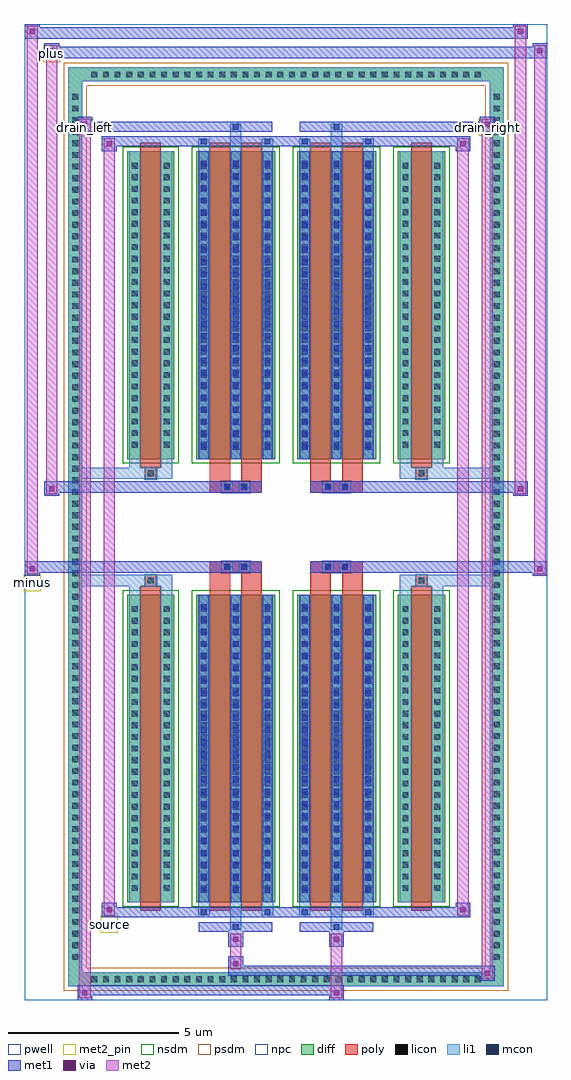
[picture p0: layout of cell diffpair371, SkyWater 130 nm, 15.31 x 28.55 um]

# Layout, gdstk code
import gdstk
lib = gdstk.Library(unit=1e-6, precision=5e-09)
def R(c, l, rs):  # rectangles x0, y0, x1, y1
    for r in rs: c.add(gdstk.rectangle(r[:2], r[2:], *l))
def A(c, l, x, y, w, h, nx, ny, dx, dy):  # array of equal rectangles
    R(c, l, [(x+i*dx, y+j*dy, x+i*dx+w, y+j*dy+h) for i in range(nx) for j in range(ny)])
def P(c, l, *ps):  # polygons
    for p in ps: c.add(gdstk.Polygon(p, *l))
pwell = (64, 44)
diff = (65, 20)
poly = (66, 20)
licon = (66, 44)
li1 = (67, 20)
mcon = (67, 44)
met1 = (68, 20)
via = (68, 44)
met2_pin = (69, 16)
met2 = (69, 20)
nsdm = (93, 44)
psdm = (94, 20)
npc = (95, 20)

diffpair371 = lib.new_cell('diffpair371')
R(diffpair371, pwell, [(-7.64,-13.84,7.64,14.71), (-4.96,-12.03,-0.01,-0.805), (0.01,-12.03,4.96,-0.805), (-4.96,0.805,-0.01,12.03), (0.01,0.805,4.96,12.03)])
A(diffpair371, diff, -5.815, -13.44, 0.41, 0.41, 34, 2, 0.34, 26.47)
A(diffpair371, diff, -6.37, -12.785, 0.41, 0.41, 1, 75, 0, 0.34)
A(diffpair371, diff, 5.96, -12.785, 0.41, 0.41, 1, 75, 0, 0.34)
R(diffpair371, diff, [(-5.815,-13.44,5.815,-13.03), (-6.37,-12.785,-5.96,12.785), (5.96,-12.785,6.37,12.785), (-4.65,-10.985,-3.27,-1.985), (-2.63,-10.985,-0.32,-1.985), (0.32,-10.985,2.63,-1.985), (3.27,-10.985,4.65,-1.985), (-4.65,1.985,-3.27,10.985), (-2.63,1.985,-0.32,10.985), (0.32,1.985,2.63,10.985), (3.27,1.985,4.65,10.985), (-5.815,13.03,5.815,13.44)])
P(diffpair371, diff, [(6.37,13.44),(-6.37,13.44),(-6.37,-13.03),(-5.96,-13.03),(-5.96,13.03),(5.96,13.03),(5.96,-13.03),(-5.96,-13.03),(-6.37,-13.03),(-6.37,-13.44),(6.37,-13.44)])
R(diffpair371, poly, [(-4.26,-11.235,-3.66,-1.735), (-2.24,-11.235,-1.64,-1.735), (-1.31,-11.235,-0.71,-1.735), (0.71,-11.235,1.31,-1.735), (1.64,-11.235,2.24,-1.735), (3.66,-11.235,4.26,-1.735), (-4.125,-1.735,-3.795,-1.405), (-4.125,-1.735,-3.795,-1.405), (-2.24,-1.735,-1.64,-1.335), (-1.31,-1.735,-0.71,-1.335), (0.71,-1.735,1.31,-1.335), (1.64,-1.735,2.24,-1.335), (3.795,-1.735,4.125,-1.405), (3.795,-1.735,4.125,-1.405), (-2.24,-1.335,-0.71,-1.005), (-1.89,-1.335,-1.56,-1.005), (-1.39,-1.335,-1.06,-1.005), (0.71,-1.335,2.24,-1.005), (1.06,-1.335,1.39,-1.005), (1.56,-1.335,1.89,-1.005), (-2.24,1.005,-0.71,1.335), (-1.89,1.005,-1.56,1.335), (-1.39,1.005,-1.06,1.335), (0.71,1.005,2.24,1.335), (1.06,1.005,1.39,1.335), (1.56,1.005,1.89,1.335), (-2.24,1.335,-1.64,1.735), (-1.31,1.335,-0.71,1.735), (0.71,1.335,1.31,1.735), (1.64,1.335,2.24,1.735), (-4.125,1.405,-3.795,1.735), (-4.125,1.405,-3.795,1.735), (3.795,1.405,4.125,1.735), (3.795,1.405,4.125,1.735), (-4.26,1.735,-3.66,11.235), (-2.24,1.735,-1.64,11.235), (-1.31,1.735,-0.71,11.235), (0.71,1.735,1.31,11.235), (1.64,1.735,2.24,11.235), (3.66,1.735,4.26,11.235)])
A(diffpair371, licon, -5.695, -13.32, 0.17, 0.17, 34, 2, 0.34, 26.47)
A(diffpair371, licon, -6.25, -12.665, 0.17, 0.17, 1, 75, 0, 0.34)
A(diffpair371, licon, 6.08, -12.665, 0.17, 0.17, 1, 75, 0, 0.34)
A(diffpair371, licon, -4.51, -10.65, 0.17, 0.17, 1, 25, 0, 0.34)
A(diffpair371, licon, -3.58, -10.65, 0.17, 0.17, 1, 25, 0, 0.34)
A(diffpair371, licon, -2.49, -10.65, 0.17, 0.17, 3, 25, 0.93, 0.34)
A(diffpair371, licon, 0.46, -10.65, 0.17, 0.17, 3, 25, 0.93, 0.34)
A(diffpair371, licon, 3.41, -10.65, 0.17, 0.17, 1, 25, 0, 0.34)
A(diffpair371, licon, 4.34, -10.65, 0.17, 0.17, 1, 25, 0, 0.34)
A(diffpair371, licon, -4.51, 2.32, 0.17, 0.17, 1, 25, 0, 0.34)
A(diffpair371, licon, -3.58, 2.32, 0.17, 0.17, 1, 25, 0, 0.34)
A(diffpair371, licon, -2.49, 2.32, 0.17, 0.17, 3, 25, 0.93, 0.34)
A(diffpair371, licon, 0.46, 2.32, 0.17, 0.17, 3, 25, 0.93, 0.34)
A(diffpair371, licon, 3.41, 2.32, 0.17, 0.17, 1, 25, 0, 0.34)
A(diffpair371, licon, 4.34, 2.32, 0.17, 0.17, 1, 25, 0, 0.34)
R(diffpair371, licon, [(-4.045,-1.655,-3.875,-1.485), (3.875,-1.655,4.045,-1.485), (-1.81,-1.255,-1.64,-1.085), (-1.31,-1.255,-1.14,-1.085), (1.14,-1.255,1.31,-1.085), (1.64,-1.255,1.81,-1.085), (-1.81,1.085,-1.64,1.255), (-1.31,1.085,-1.14,1.255), (1.14,1.085,1.31,1.255), (1.64,1.085,1.81,1.255), (-4.045,1.485,-3.875,1.655), (3.875,1.485,4.045,1.655)])
A(diffpair371, li1, -5.775, -13.4, 0.33, 0.33, 34, 2, 0.34, 26.47)
A(diffpair371, li1, -6.33, -12.745, 0.33, 0.33, 1, 75, 0, 0.34)
A(diffpair371, li1, 6, -12.745, 0.33, 0.33, 1, 75, 0, 0.34)
A(diffpair371, li1, -2.57, -10.985, 0.33, 9, 3, 2, 0.93, 12.97)
A(diffpair371, li1, 0.38, -10.985, 0.33, 9, 3, 2, 0.93, 12.97)
A(diffpair371, li1, -4.59, -10.73, 0.33, 0.33, 1, 25, 0, 0.34)
A(diffpair371, li1, -3.66, -10.73, 0.33, 0.33, 1, 25, 0, 0.34)
A(diffpair371, li1, -2.57, -10.73, 0.33, 0.33, 3, 25, 0.93, 0.34)
A(diffpair371, li1, 0.38, -10.73, 0.33, 0.33, 3, 25, 0.93, 0.34)
A(diffpair371, li1, 3.33, -10.73, 0.33, 0.33, 1, 25, 0, 0.34)
A(diffpair371, li1, 4.26, -10.73, 0.33, 0.33, 1, 25, 0, 0.34)
A(diffpair371, li1, -2.49, -10.71, 0.17, 0.17, 3, 24, 0.93, 0.36)
A(diffpair371, li1, -2.49, -10.71, 0.17, 8.45, 3, 2, 0.93, 12.97)
A(diffpair371, li1, 0.46, -10.71, 0.17, 0.17, 3, 24, 0.93, 0.36)
A(diffpair371, li1, 0.46, -10.71, 0.17, 8.45, 3, 2, 0.93, 12.97)
A(diffpair371, li1, -4.59, 2.24, 0.33, 0.33, 1, 25, 0, 0.34)
A(diffpair371, li1, -3.66, 2.24, 0.33, 0.33, 1, 25, 0, 0.34)
A(diffpair371, li1, -2.57, 2.24, 0.33, 0.33, 3, 25, 0.93, 0.34)
A(diffpair371, li1, 0.38, 2.24, 0.33, 0.33, 3, 25, 0.93, 0.34)
A(diffpair371, li1, 3.33, 2.24, 0.33, 0.33, 1, 25, 0, 0.34)
A(diffpair371, li1, 4.26, 2.24, 0.33, 0.33, 1, 25, 0, 0.34)
A(diffpair371, li1, -2.49, 2.26, 0.17, 0.17, 3, 24, 0.93, 0.36)
A(diffpair371, li1, 0.46, 2.26, 0.17, 0.17, 3, 24, 0.93, 0.36)
R(diffpair371, li1, [(-6.37,-13.44,-5.96,-13.03), (-6.37,-13.44,-5.96,-13.03), (-5.96,-13.44,5.96,-13.03), (5.96,-13.44,6.37,-13.03), (5.96,-13.44,6.37,-13.03), (-6.37,-13.03,-5.96,13.03), (5.96,-13.03,6.37,13.03), (-1.64,-11.79,-1.31,-10.985), (-1.56,-11.79,-1.39,-11.62), (1.31,-11.79,1.64,-10.985), (1.39,-11.79,1.56,-11.62), (-2.57,-11.36,-2.24,-10.985), (-2.49,-11.36,-2.32,-11.19), (-0.71,-11.36,-0.38,-10.985), (-0.63,-11.36,-0.46,-11.19), (0.38,-11.36,0.71,-10.985), (0.46,-11.36,0.63,-11.19), (2.24,-11.36,2.57,-10.985), (2.32,-11.36,2.49,-11.19), (-4.59,-10.985,-4.26,-1.985), (-3.66,-10.985,-3.33,-1.985), (3.33,-10.985,3.66,-1.985), (4.26,-10.985,4.59,-1.985), (-4.59,-1.985,-4.26,-1.405), (-3.66,-1.985,-3.33,-1.405), (3.33,-1.985,3.66,-1.405), (4.26,-1.985,4.59,-1.405), (-6.37,-1.735,-4.125,-1.405), (-4.59,-1.735,-4.125,-1.405), (-4.125,-1.735,-3.795,-1.405), (-3.795,-1.735,-3.33,-1.405), (3.33,-1.735,3.795,-1.405), (3.795,-1.735,4.125,-1.405), (3.795,-1.735,6.37,-1.405), (4.125,-1.735,4.59,-1.405), (-1.89,-1.335,-1.56,-1.005), (-1.39,-1.335,-1.06,-1.005), (1.06,-1.335,1.39,-1.005), (1.56,-1.335,1.89,-1.005), (-1.89,1.005,-1.56,1.335), (-1.39,1.005,-1.06,1.335), (1.06,1.005,1.39,1.335), (1.56,1.005,1.89,1.335), (-6.37,1.405,-4.125,1.735), (-4.59,1.405,-4.125,1.735), (-4.59,1.405,-4.26,1.985), (-4.125,1.405,-3.795,1.735), (-3.795,1.405,-3.33,1.735), (-3.66,1.405,-3.33,1.985), (3.33,1.405,3.795,1.735), (3.33,1.405,3.66,1.985), (3.795,1.405,4.125,1.735), (3.795,1.405,6.37,1.735), (4.125,1.405,4.59,1.735), (4.26,1.405,4.59,1.985), (-4.59,1.985,-4.26,10.985), (-3.66,1.985,-3.33,10.985), (3.33,1.985,3.66,10.985), (4.26,1.985,4.59,10.985), (-2.57,10.985,-2.24,11.36), (-1.64,10.985,-1.31,11.79), (-0.71,10.985,-0.38,11.36), (0.38,10.985,0.71,11.36), (1.31,10.985,1.64,11.79), (2.24,10.985,2.57,11.36), (-2.49,11.19,-2.32,11.36), (-0.63,11.19,-0.46,11.36), (0.46,11.19,0.63,11.36), (2.32,11.19,2.49,11.36), (-1.56,11.62,-1.39,11.79), (1.39,11.62,1.56,11.79), (-6.37,13.03,-5.96,13.44), (-6.37,13.03,-5.96,13.44), (-5.96,13.03,5.96,13.44), (5.96,13.03,6.37,13.44), (5.96,13.03,6.37,13.44)])
A(diffpair371, mcon, -2.49, -10.71, 0.17, 0.17, 3, 24, 0.93, 0.36)
A(diffpair371, mcon, 0.46, -10.71, 0.17, 0.17, 3, 24, 0.93, 0.36)
A(diffpair371, mcon, -2.49, 2.26, 0.17, 0.17, 3, 24, 0.93, 0.36)
A(diffpair371, mcon, 0.46, 2.26, 0.17, 0.17, 3, 24, 0.93, 0.36)
R(diffpair371, mcon, [(-1.56,-11.79,-1.39,-11.62), (1.39,-11.79,1.56,-11.62), (-2.49,-11.36,-2.32,-11.19), (-0.63,-11.36,-0.46,-11.19), (0.46,-11.36,0.63,-11.19), (2.32,-11.36,2.49,-11.19), (-1.81,-1.255,-1.64,-1.085), (-1.31,-1.255,-1.14,-1.085), (1.14,-1.255,1.31,-1.085), (1.64,-1.255,1.81,-1.085), (-1.81,1.085,-1.64,1.255), (-1.31,1.085,-1.14,1.255), (1.14,1.085,1.31,1.255), (1.64,1.085,1.81,1.255), (-2.49,11.19,-2.32,11.36), (-0.63,11.19,-0.46,11.36), (0.46,11.19,0.63,11.36), (2.32,11.19,2.49,11.36), (-1.56,11.62,-1.39,11.79), (1.39,11.62,1.56,11.79)])
A(diffpair371, met1, -2.55, -10.985, 0.29, 9, 3, 2, 0.93, 12.97)
A(diffpair371, met1, 0.4, -10.985, 0.29, 9, 3, 2, 0.93, 12.97)
A(diffpair371, met1, -2.55, -10.77, 0.29, 0.29, 3, 24, 0.93, 0.36)
A(diffpair371, met1, 0.4, -10.77, 0.29, 0.29, 3, 24, 0.93, 0.36)
A(diffpair371, met1, -2.55, 2.2, 0.29, 0.29, 3, 24, 0.93, 0.36)
A(diffpair371, met1, 0.4, 2.2, 0.29, 0.29, 3, 24, 0.93, 0.36)
R(diffpair371, met1, [(-6.1,-13.84,-5.67,-13.41), (1.26,-13.84,1.69,-13.41), (-6.1,-13.7,1.69,-13.41), (5.67,-13.27,6.1,-12.84), (-1.69,-13.13,6.1,-12.84), (-1.69,-12.99,-1.26,-12.56), (-1.69,-12.28,-1.26,-11.85), (1.26,-12.28,1.69,-11.85), (-2.55,-11.85,-0.4,-11.56), (-1.62,-11.85,-1.33,-11.56), (0.4,-11.85,2.55,-11.56), (1.33,-11.85,1.62,-11.56), (-5.39,-11.42,-4.96,-10.99), (-5.39,-11.42,-2.55,-11.13), (-2.55,-11.42,-2.26,-11.13), (-2.55,-11.42,-0.4,-11.13), (-0.69,-11.42,-0.4,-11.13), (-0.4,-11.42,0.4,-11.13), (0.4,-11.42,0.69,-11.13), (0.4,-11.42,2.55,-11.13), (2.26,-11.42,2.55,-11.13), (2.55,-11.42,5.39,-11.13), (4.96,-11.42,5.39,-10.99), (-7.64,-1.435,-7.21,-1.005), (7.21,-1.435,7.64,-1.005), (-7.64,-1.335,-0.71,-1.005), (-2.24,-1.335,-0.71,-1.005), (0.71,-1.335,2.24,-1.005), (0.71,-1.335,7.64,-1.005), (-1.87,-1.315,-1.58,-1.025), (-1.37,-1.315,-1.08,-1.025), (1.08,-1.315,1.37,-1.025), (1.58,-1.315,1.87,-1.025), (-7.07,0.905,-6.64,1.335), (6.64,0.905,7.07,1.335), (-7.07,1.005,-2.24,1.335), (-2.24,1.005,-0.71,1.335), (0.71,1.005,2.24,1.335), (2.24,1.005,7.07,1.335), (-1.87,1.025,-1.58,1.315), (-1.37,1.025,-1.08,1.315), (1.08,1.025,1.37,1.315), (1.58,1.025,1.87,1.315), (-5.39,10.99,-4.96,11.42), (4.96,10.99,5.39,11.42), (-5.39,11.13,-2.55,11.42), (-2.55,11.13,-2.26,11.42), (-2.55,11.13,-0.4,11.42), (-0.69,11.13,-0.4,11.42), (-0.4,11.13,0.4,11.42), (0.4,11.13,0.69,11.42), (0.4,11.13,2.55,11.42), (2.26,11.13,2.55,11.42), (2.55,11.13,5.39,11.42), (-6.1,11.56,-5.67,11.99), (-6.1,11.56,-2.55,11.85), (-2.55,11.56,-0.4,11.85), (-1.62,11.56,-1.33,11.85), (0.4,11.56,2.55,11.85), (1.33,11.56,1.62,11.85), (2.55,11.56,6.1,11.85), (5.67,11.56,6.1,11.99), (-7.07,13.71,-6.64,14.14), (-7.07,13.71,-4.96,14.04), (-4.96,13.71,4.96,14.04), (4.96,13.71,7.64,14.04), (7.21,13.71,7.64,14.14), (-7.64,14.28,-7.21,14.71), (-7.64,14.28,-4.96,14.61), (-4.96,14.28,4.96,14.61), (4.96,14.28,7.07,14.61), (6.64,14.28,7.07,14.71)])
R(diffpair371, via, [(-5.96,-13.7,-5.81,-13.55), (1.4,-13.7,1.55,-13.55), (5.81,-13.13,5.96,-12.98), (-1.55,-12.85,-1.4,-12.7), (-1.55,-12.14,-1.4,-11.99), (1.4,-12.14,1.55,-11.99), (-5.25,-11.28,-5.1,-11.13), (5.1,-11.28,5.25,-11.13), (-7.5,-1.295,-7.35,-1.145), (7.35,-1.295,7.5,-1.145), (-6.93,1.045,-6.78,1.195), (6.78,1.045,6.93,1.195), (-5.25,11.13,-5.1,11.28), (5.1,11.13,5.25,11.28), (-5.96,11.7,-5.81,11.85), (5.81,11.7,5.96,11.85), (-6.93,13.85,-6.78,14), (7.35,13.85,7.5,14), (-7.5,14.42,-7.35,14.57), (6.78,14.42,6.93,14.57)])
R(diffpair371, met2_pin, [(-5.425,-11.87,-4.925,-11.37), (-7.675,-1.885,-7.175,-1.385), (-6.135,11.44,-5.635,11.94), (5.635,11.44,6.135,11.94), (-7.105,13.59,-6.605,14.09)])
R(diffpair371, met2, [(-6.05,-13.79,-5.72,-13.46), (-6.05,-13.79,-5.72,11.94), (1.31,-13.79,1.64,-13.46), (1.31,-13.46,1.64,-12.23), (5.72,-13.22,6.05,-12.89), (5.72,-13.22,6.05,11.94), (-1.64,-12.94,-1.31,-12.61), (-1.64,-12.61,-1.31,-12.23), (-1.64,-12.23,-1.31,-11.9), (1.31,-12.23,1.64,-11.9), (-5.34,-11.37,-5.01,-11.04), (-5.34,-11.37,-5.01,11.37), (5.01,-11.37,5.34,-11.04), (5.01,-11.37,5.34,11.37), (-7.59,-1.385,-7.26,-1.055), (-7.59,-1.385,-7.26,14.66), (7.26,-1.385,7.59,-1.055), (7.26,-1.385,7.59,14.09), (-7.02,0.955,-6.69,1.285), (-7.02,0.955,-6.69,14.09), (6.69,0.955,7.02,1.285), (6.69,0.955,7.02,14.66), (-5.34,11.04,-5.01,11.37), (5.01,11.04,5.34,11.37), (-6.05,11.61,-5.72,11.94), (5.72,11.61,6.05,11.94), (-7.02,13.76,-6.69,14.09), (7.26,13.76,7.59,14.09), (-7.59,14.33,-7.26,14.66), (6.69,14.33,7.02,14.66)])
P(diffpair371, met2, [(7.59,-1.385),(7.59,-1.385),(7.59,-1.055),(7.59,-1.055)],
  [(7.59,13.76),(7.59,13.76),(7.59,14.09),(7.59,14.09)],
  [(-7.26,-1.385),(-7.26,-1.385),(-7.26,-1.055),(-7.26,-1.055)],
  [(-7.26,14.33),(-7.26,14.33),(-7.26,14.66),(-7.26,14.66)],
  [(7.02,0.955),(7.02,0.955),(7.02,1.285),(7.02,1.285)],
  [(7.02,14.33),(7.02,14.33),(7.02,14.66),(7.02,14.66)],
  [(-6.69,0.955),(-6.69,0.955),(-6.69,1.285),(-6.69,1.285)],
  [(-6.69,13.76),(-6.69,13.76),(-6.69,14.09),(-6.69,14.09)],
  [(-5.72,-13.79),(-5.72,-13.79),(-5.72,-13.46),(-5.72,-13.46)],
  [(-5.72,11.61),(-5.72,11.61),(-5.72,11.94),(-5.72,11.94)],
  [(6.05,-13.22),(6.05,-13.22),(6.05,-12.89),(6.05,-12.89)],
  [(6.05,11.61),(6.05,11.61),(6.05,11.94),(6.05,11.94)],
  [(-5.01,-11.37),(-5.01,-11.37),(-5.01,-11.04),(-5.01,-11.04)],
  [(-5.01,11.04),(-5.01,11.04),(-5.01,11.37),(-5.01,11.37)],
  [(5.34,-11.37),(5.34,-11.37),(5.34,-11.04),(5.34,-11.04)],
  [(5.34,11.04),(5.34,11.04),(5.34,11.37),(5.34,11.37)])
R(diffpair371, nsdm, [(-4.78,-11.115,-3.14,-1.855), (-2.76,-11.115,-0.19,-1.855), (0.19,-11.115,2.76,-1.855), (3.14,-11.115,4.78,-1.855), (-4.78,1.855,-3.14,11.115), (-2.76,1.855,-0.19,11.115), (0.19,1.855,2.76,11.115), (3.14,1.855,4.78,11.115)])
P(diffpair371, psdm, [(6.5,13.57),(-6.5,13.57),(-6.5,-12.9),(-5.83,-12.9),(-5.83,12.9),(5.83,12.9),(5.83,-12.9),(-5.83,-12.9),(-6.5,-12.9),(-6.5,-13.57),(6.5,-13.57)])
R(diffpair371, npc, [(-4.145,-1.755,-3.775,-1.385), (3.775,-1.755,4.145,-1.385), (-1.91,-1.355,-1.54,-0.985), (-1.91,-1.355,-1.04,-0.985), (-1.91,-1.355,-1.04,-0.985), (-1.41,-1.355,-1.04,-0.985), (1.04,-1.355,1.41,-0.985), (1.04,-1.355,1.91,-0.985), (1.04,-1.355,1.91,-0.985), (1.54,-1.355,1.91,-0.985), (-1.91,0.985,-1.54,1.355), (-1.91,0.985,-1.04,1.355), (-1.91,0.985,-1.04,1.355), (-1.41,0.985,-1.04,1.355), (1.04,0.985,1.41,1.355), (1.04,0.985,1.91,1.355), (1.04,0.985,1.91,1.355), (1.54,0.985,1.91,1.355), (-4.145,1.385,-3.775,1.755), (3.775,1.385,4.145,1.755)])
diffpair371.add(gdstk.Label('minus', (-7.425,-1.635), layer=69, texttype=5))
diffpair371.add(gdstk.Label('drain_right', (5.885,11.69), layer=69, texttype=5))
diffpair371.add(gdstk.Label('drain_left', (-5.885,11.69), layer=69, texttype=5))
diffpair371.add(gdstk.Label('source', (-5.175,-11.62), layer=69, texttype=5))
diffpair371.add(gdstk.Label('plus', (-6.855,13.84), layer=69, texttype=5))

lib.write_gds('diffpair371.gds')
